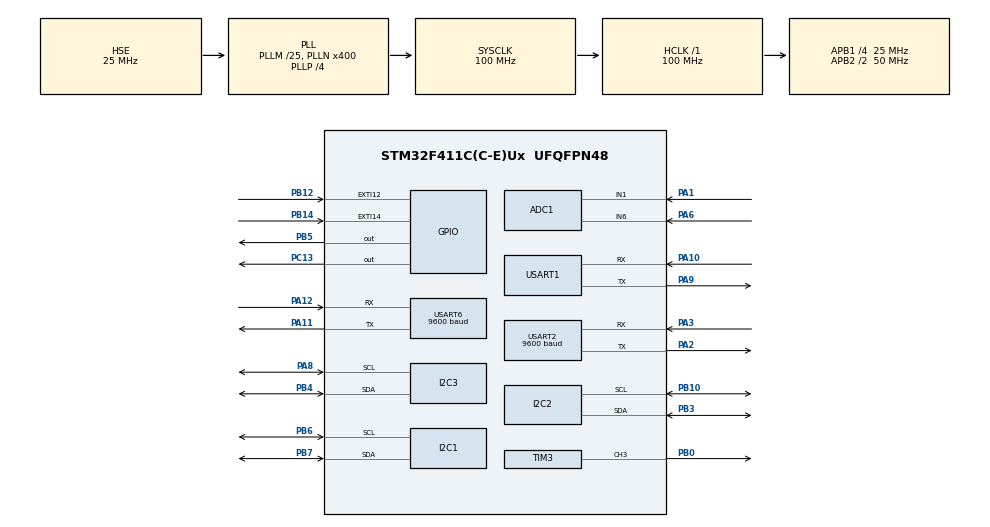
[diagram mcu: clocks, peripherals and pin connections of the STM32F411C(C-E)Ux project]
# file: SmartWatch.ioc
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ADC1.Channel-0\#ChannelRegularConversion=ADC_CHANNEL_1
ADC1.NbrOfConversionFlag=1
ADC1.Rank-0\#ChannelRegularConversion=1
ADC1.SamplingTime-0\#ChannelRegularConversion=ADC_SAMPLETIME_3CYCLES
ADC1.master=1
FREERTOS.Tasks01=defaultTask,24,128,StartDefaultTask,Default,NULL,Dynamic,NULL,NULL
FREERTOS.configTOTAL_HEAP_SIZE=46080
I2C1.I2C_Mode=I2C_Fast
I2C2.I2C_Mode=I2C_Fast
I2C3.I2C_Mode=I2C_Fast
Mcu.Family=STM32F4
Mcu.Name=STM32F411C(C-E)Ux
Mcu.Package=UFQFPN48
NVIC.ADC_IRQn=true\:9\:0\:true\:false\:true\:true\:true\:true\:true
NVIC.EXTI15_10_IRQn=true\:5\:0\:true\:false\:true\:false\:true\:true\:true
NVIC.I2C1_ER_IRQn=true\:7\:0\:true\:false\:true\:true\:true\:true\:true
NVIC.I2C1_EV_IRQn=true\:7\:0\:true\:false\:true\:true\:true\:true\:true
NVIC.PriorityGroup=NVIC_PRIORITYGROUP_4
NVIC.TIM3_IRQn=true\:8\:0\:true\:false\:true\:true\:true\:true\:true
NVIC.USART1_IRQn=true\:5\:0\:false\:false\:true\:true\:true\:true\:true
NVIC.USART2_IRQn=true\:8\:0\:true\:false\:true\:true\:true\:true\:true
PA1.Signal=ADCx_IN1
PA10.Mode=Asynchronous
PA10.Signal=USART1_RX
PA11.Mode=Asynchronous
PA11.Signal=USART6_TX
PA12.Mode=Asynchronous
PA12.Signal=USART6_RX
PA13.Mode=Serial_Wire
PA13.Signal=SYS_JTMS-SWDIO
PA14.Mode=Serial_Wire
PA14.Signal=SYS_JTCK-SWCLK
PA2.Mode=Asynchronous
PA2.Signal=USART2_TX
PA3.Mode=Asynchronous
PA3.Signal=USART2_RX
PA6.Signal=ADCx_IN6
PA8.Mode=I2C
PA8.Signal=I2C3_SCL
PA9.Mode=Asynchronous
PA9.Signal=USART1_TX
PB0.Signal=S_TIM3_CH3
PB10.Mode=I2C
PB10.Signal=I2C2_SCL
PB12.GPIO_PuPd=GPIO_PULLUP
PB12.Signal=GPXTI12
PB14.GPIO_PuPd=GPIO_PULLUP
PB14.Signal=GPXTI14
PB3.Mode=I2C
PB3.Signal=I2C2_SDA
PB4.Mode=I2C
PB4.Signal=I2C3_SDA
PB5.GPIO_ModeDefaultOutputPP=GPIO_MODE_OUTPUT_OD
PB5.GPIO_PuPd=GPIO_PULLUP
PB5.GPIO_Speed=GPIO_SPEED_FREQ_HIGH
PB5.PinState=GPIO_PIN_SET
PB5.Signal=GPIO_Output
PB6.Mode=I2C
PB6.Signal=I2C1_SCL
PB7.Mode=I2C
PB7.Signal=I2C1_SDA
PC13-ANTI_TAMP.Signal=GPIO_Output
PH0\ -\ OSC_IN.Mode=HSE-External-Oscillator
PH0\ -\ OSC_IN.Signal=RCC_OSC_IN
PH1\ -\ OSC_OUT.Mode=HSE-External-Oscillator
PH1\ -\ OSC_OUT.Signal=RCC_OSC_OUT
ProjectManager.HeapSize=0x200
ProjectManager.StackSize=0x400
ProjectManager.TargetToolchain=CMake
RCC.48MHZClocksFreq_Value=100000000
RCC.AHBFreq_Value=100000000
RCC.APB1CLKDivider=RCC_HCLK_DIV4
RCC.APB1Freq_Value=25000000
RCC.APB1TimFreq_Value=50000000
RCC.APB2CLKDivider=RCC_HCLK_DIV2
RCC.APB2Freq_Value=50000000
RCC.APB2TimFreq_Value=100000000
RCC.CortexFreq_Value=100000000
RCC.EnbaleCSS=true
RCC.HCLKFreq_Value=100000000
RCC.HSE_VALUE=25000000
RCC.HSI_VALUE=16000000
RCC.LSE_VALUE=32768
RCC.PLLM=25
RCC.PLLN=400
RCC.PLLP=RCC_PLLP_DIV4
RCC.PLLSourceVirtual=RCC_PLLSOURCE_HSE
RCC.SYSCLKFreq_VALUE=100000000
RCC.SYSCLKSource=RCC_SYSCLKSOURCE_PLLCLK
RCC.VCOOutputFreq_Value=400000000
SH.ADCx_IN1.0=ADC1_IN1,IN1
SH.ADCx_IN6.0=ADC1_IN6,IN6
SH.S_TIM3_CH3.0=TIM3_CH3,PWM Generation3 CH3
TIM3.Channel-PWM\ Generation3\ CH3=TIM_CHANNEL_3
USART1.VirtualMode=VM_ASYNC
USART2.BaudRate=9600
USART2.VirtualMode=VM_ASYNC
USART6.BaudRate=9600
USART6.VirtualMode=VM_ASYNC
VP_FREERTOS_VS_CMSIS_V2.Mode=CMSIS_V2
board=custom

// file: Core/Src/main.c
/* USER CODE BEGIN Header */
/**
  ******************************************************************************
  * @file           : main.c
  * @brief          : Main program body
  ******************************************************************************
  * @attention
  *
  * Copyright (c) 2026 STMicroelectronics.
  * All rights reserved.
  *
  * This software is licensed under terms that can be found in the LICENSE file
  * in the root directory of this software component.
  * If no LICENSE file comes with this software, it is provided AS-IS.
  *
  ******************************************************************************
  */
/* USER CODE END Header */
#include "main.h"
#include "cmsis_os.h"
#include "adc.h"
#include "i2c.h"
#include "tim.h"
#include "usart.h"
#include "gpio.h"

/* USER CODE BEGIN Includes */
#include <stdarg.h>
#include <stdio.h>
#include <string.h>
#include "at_driver.h"
#include "gps_atgm336h.h"

/* USER CODE END Includes */

void SystemClock_Config(void);
void MX_FREERTOS_Init(void);

int main(void)
{

  /* MCU Configuration--------------------------------------------------------*/

  /* Reset of all peripherals, Initializes the Flash interface and the Systick. */
  HAL_Init();

  /* Configure the system clock */
  SystemClock_Config();

  /* Initialize all configured peripherals */
  MX_GPIO_Init();
  MX_ADC1_Init();
  MX_I2C1_Init();
  MX_TIM3_Init();
  MX_USART1_UART_Init();
  MX_USART2_UART_Init();
  MX_USART6_UART_Init();
  MX_I2C2_Init();
  MX_I2C3_Init();

  /* Init scheduler */
  osKernelInitialize();  /* Call init function for freertos objects (in cmsis_os2.c) */
  MX_FREERTOS_Init();

  /* Start scheduler */
  osKernelStart();

  /* We should never get here as control is now taken by the scheduler */

  /* Infinite loop */
  while (1)
  {

  }
}

void SystemClock_Config(void)
{
  RCC_OscInitTypeDef RCC_OscInitStruct = {0};
  RCC_ClkInitTypeDef RCC_ClkInitStruct = {0};

  /** Configure the main internal regulator output voltage
  */
  __HAL_RCC_PWR_CLK_ENABLE();
  __HAL_PWR_VOLTAGESCALING_CONFIG(PWR_REGULATOR_VOLTAGE_SCALE1);

  /** Initializes the RCC Oscillators according to the specified parameters
  * in the RCC_OscInitTypeDef structure.
  */
  RCC_OscInitStruct.OscillatorType = RCC_OSCILLATORTYPE_HSE;
  RCC_OscInitStruct.HSEState = RCC_HSE_ON;
  RCC_OscInitStruct.PLL.PLLState = RCC_PLL_ON;
  RCC_OscInitStruct.PLL.PLLSource = RCC_PLLSOURCE_HSE;
  RCC_OscInitStruct.PLL.PLLM = 25;
  RCC_OscInitStruct.PLL.PLLN = 400;
  RCC_OscInitStruct.PLL.PLLP = RCC_PLLP_DIV4;
  RCC_OscInitStruct.PLL.PLLQ = 4;
  if (HAL_RCC_OscConfig(&RCC_OscInitStruct) != HAL_OK)
  {
    Error_Handler();
  }

  /** Initializes the CPU, AHB and APB buses clocks
  */
  RCC_ClkInitStruct.ClockType = RCC_CLOCKTYPE_HCLK|RCC_CLOCKTYPE_SYSCLK
                              |RCC_CLOCKTYPE_PCLK1|RCC_CLOCKTYPE_PCLK2;
  RCC_ClkInitStruct.SYSCLKSource = RCC_SYSCLKSOURCE_PLLCLK;
  RCC_ClkInitStruct.AHBCLKDivider = RCC_SYSCLK_DIV1;
  RCC_ClkInitStruct.APB1CLKDivider = RCC_HCLK_DIV4;
  RCC_ClkInitStruct.APB2CLKDivider = RCC_HCLK_DIV2;

  if (HAL_RCC_ClockConfig(&RCC_ClkInitStruct, FLASH_LATENCY_3) != HAL_OK)
  {
    Error_Handler();
  }

  /** Enables the Clock Security System
  */
  HAL_RCC_EnableCSS();
}

/* USER CODE BEGIN 4 */
/**
 * @brief  UART 接收完成回调（所有 UART 共用）
 * @param  huart: 触发中断的 UART 句柄
 */
void HAL_UART_RxCpltCallback(UART_HandleTypeDef *huart)
{
    /* 判断是哪一个串口，并调用对应驱动的 ISR 处理函数 */

    // 4G 模块串口（USART1）
    if (huart->Instance == USART1) {
        AT_Driver_RxCpltCallback_ISR(huart);
    }
    // GPS 模块串口（USART2）
    else if (huart->Instance == USART2) {
        // 调用 GPS 驱动提供的 ISR 处理函数
        GPS_ATGM336H_RxCpltCallback_ISR(huart);
    }
}
/* USER CODE END 4 */

void Error_Handler(void)
{
  __disable_irq();
  while (1)
  {
  }
}

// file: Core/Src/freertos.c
/* USER CODE BEGIN Header */
/**
  ******************************************************************************
  * File Name          : freertos.c
  * Description        : Code for freertos applications
  ******************************************************************************
  * @attention
  *
  * Copyright (c) 2026 STMicroelectronics.
  * All rights reserved.
  *
  * This software is licensed under terms that can be found in the LICENSE file
  * in the root directory of this software component.
  * If no LICENSE file comes with this software, it is provided AS-IS.
  *
  ******************************************************************************
  */
/* USER CODE END Header */

#include "FreeRTOS.h"
#include "task.h"
#include "main.h"
#include "cmsis_os.h"

/* USER CODE BEGIN Includes */
#include "queue.h"
#include "at_driver.h"       // 引入 URC_Task 和 uart_msg_t

// 引入任务模块的头文件
#include "task_sensor.h"
#include "task_decision.h"
#include "task_hmi.h"
#include "task_comm.h"
#include "task_max30102.h"
#include "task_alert.h"
/* USER CODE END Includes */

/* USER CODE BEGIN Variables */
// --- 任务句柄 ---
osThreadId_t sensorTaskHandle;
osThreadId_t decisionTaskHandle;
osThreadId_t hmiTaskHandle;
osThreadId_t commTaskHandle;
osThreadId_t urcTaskHandle;
osThreadId_t max30102TaskHandle;
osThreadId_t alertTaskHandle;
QueueHandle_t xUartRxQueueHandle;  // 串口接收队列句柄
osMessageQueueId_t downlinkQueueHandle; // 下行命令队列句柄

// --- 任务属性 ---
const osThreadAttr_t sensorTask_attributes = {
  .name = "SensorTask",
  .stack_size = 1536,
  .priority = (osPriority_t) osPriorityAboveNormal,
};

const osThreadAttr_t decisionTask_attributes = {
  .name = "DecisionTask",
  .stack_size = 1024,
  .priority = (osPriority_t) osPriorityBelowNormal,
};

const osThreadAttr_t hmiTask_attributes = {
  .name = "HMITask",
  .stack_size = 1664,
  .priority = (osPriority_t) osPriorityNormal,
};

const osThreadAttr_t commTask_attributes = {
  .name = "CommTask",
  .stack_size = 8192,
  .priority = (osPriority_t) osPriorityBelowNormal,
};

const osThreadAttr_t urcTask_attributes = {
  .name = "URCTask",
  .stack_size = 2048,
  .priority = (osPriority_t) osPriorityBelowNormal,
};

const osThreadAttr_t max30102Task_attributes = {
  .name = "Max30102Task",
  .stack_size = 1024,
  .priority = (osPriority_t) osPriorityAboveNormal,
};

const osThreadAttr_t alertTask_attributes = {
    .name = "AlertTask",
    .stack_size = 5120,
    .priority = (osPriority_t) osPriorityHigh,
};

// --- 同步机制 ---
osMutexId_t xDataMutexHandle;  // 互斥锁句柄定义
const osMutexAttr_t xDataMutex_attributes = { .name = "xDataMutex" };

// 通信暂停信号量
osSemaphoreId_t xCommPauseSemHandle;
const osSemaphoreAttr_t xCommPauseSem_attributes = { .name = "xCommPauseSem" };

// --- 全局数据实例 ---
SensorData_t g_SensorData = {0};
SystemStatus_t g_SystemStatus = {0};
HMIInput_t g_HMIInput = {0};
FamilyConfig_t g_FamilyConfig = {0};

/* USER CODE END Variables */

void StartDefaultTask(void *argument);

void MX_FREERTOS_Init(void); /* (MISRA C 2004 rule 8.1) */

void MX_FREERTOS_Init(void) {

  /* USER CODE BEGIN RTOS_MUTEX */
  /* add mutexes, ... */
  xDataMutexHandle = osMutexNew(&xDataMutex_attributes);
  /* USER CODE END RTOS_MUTEX */

  /* USER CODE BEGIN RTOS_SEMAPHORES */
  /* add semaphores, ... */
  xCommPauseSemHandle = osSemaphoreNew(1, 1, &xCommPauseSem_attributes);
  /* USER CODE END RTOS_SEMAPHORES */

  /* USER CODE BEGIN RTOS_QUEUES */
  /* add queues, ... */
  xUartRxQueueHandle = xQueueCreate(10, sizeof(uart_msg_t));
  downlinkQueueHandle = osMessageQueueNew(5, sizeof(downlink_msg_t), NULL);
  /* USER CODE END RTOS_QUEUES */

  /* Create the thread(s) */

  /* USER CODE BEGIN RTOS_THREADS */
  /* add threads, ... */
    // 直接调用各模块封装好的入口函数
  sensorTaskHandle   = osThreadNew(SensorTask, NULL, &sensorTask_attributes);
  decisionTaskHandle = osThreadNew(DecisionTask, NULL, &decisionTask_attributes);
  hmiTaskHandle      = osThreadNew(HMITask, NULL, &hmiTask_attributes);
  commTaskHandle     = osThreadNew(CommTask, NULL, &commTask_attributes);
  urcTaskHandle      = osThreadNew(URC_Task, NULL, &urcTask_attributes);
  max30102TaskHandle = osThreadNew(MAX30102_Task, NULL, &max30102Task_attributes);
  alertTaskHandle = osThreadNew(AlertTask, NULL, &alertTask_attributes);
  /* USER CODE END RTOS_THREADS */

}

// void StartDefaultTask(void *argument)
// {
  /* USER CODE BEGIN StartDefaultTask */
//   /* Infinite loop */
//   for(;;)
//   {
//     osDelay(1);
//   }
  /* USER CODE END StartDefaultTask */
// }
